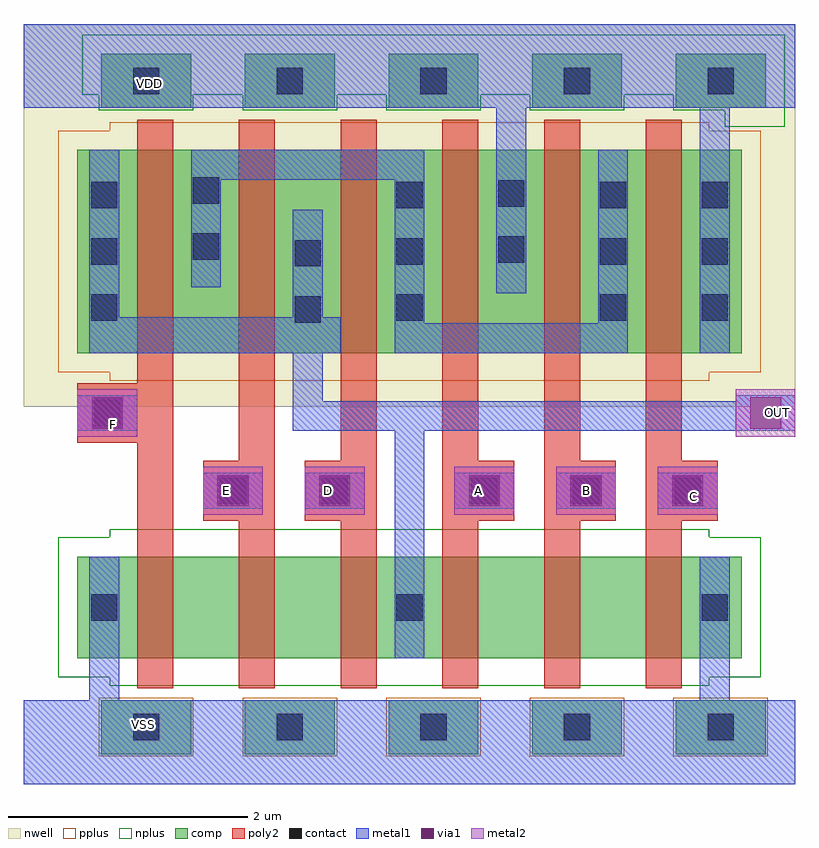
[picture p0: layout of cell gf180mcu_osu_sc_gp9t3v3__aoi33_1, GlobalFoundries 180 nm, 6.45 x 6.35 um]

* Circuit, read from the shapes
.subckt gf180mcu_osu_sc_gp9t3v3__aoi33_1 A B C D E F OUT VDD VSS
XM1 n1 F VSS VSS nfet_03v3 w=0.85u l=0.3u
XM2 n2 E n1 VSS nfet_03v3 w=0.85u l=0.3u
XM3 OUT D n2 VSS nfet_03v3 w=0.85u l=0.3u
XM4 n3 A OUT VSS nfet_03v3 w=0.85u l=0.3u
XM5 n4 B n3 VSS nfet_03v3 w=0.85u l=0.3u
XM6 VSS C n4 VSS nfet_03v3 w=0.85u l=0.3u
XM7 n5 F OUT VDD pfet_03v3 w=1.7u l=0.3u
XM8 OUT E n5 VDD pfet_03v3 w=1.7u l=0.3u
XM9 n5 D OUT VDD pfet_03v3 w=1.7u l=0.3u
XM10 VDD A n5 VDD pfet_03v3 w=1.7u l=0.3u
XM11 n5 B VDD VDD pfet_03v3 w=1.7u l=0.3u
XM12 VDD C n5 VDD pfet_03v3 w=1.7u l=0.3u
.ends

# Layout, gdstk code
import gdstk
lib = gdstk.Library(unit=1e-6, precision=1e-09)
def R(c, l, rs):  # rectangles x0, y0, x1, y1
    for r in rs: c.add(gdstk.rectangle(r[:2], r[2:], *l))
def A(c, l, x, y, w, h, nx, ny, dx, dy):  # array of equal rectangles
    R(c, l, [(x+i*dx, y+j*dy, x+i*dx+w, y+j*dy+h) for i in range(nx) for j in range(ny)])
nwell = (21, 0)
comp = (22, 0)
poly2 = (30, 0)
pplus = (31, 0)
nplus = (32, 0)
contact = (33, 0)
metal1 = (34, 0)
via1 = (35, 0)
metal2 = (36, 0)

gf180mcu_osu_sc_gp9t3v3_ = lib.new_cell('gf180mcu_osu_sc_gp9t3v3__aoi33_1')
R(gf180mcu_osu_sc_gp9t3v3_, nwell, [(0,3.15,6.45,6.35)])
A(gf180mcu_osu_sc_gp9t3v3_, comp, 0.65, 0.25, 0.75, 0.45, 5, 2, 1.2, 5.4)
R(gf180mcu_osu_sc_gp9t3v3_, comp, [(0.45,1.05,6,1.9), (0.45,3.6,6,5.3)])
A(gf180mcu_osu_sc_gp9t3v3_, poly2, 1.8, 0.8, 0.3, 1.4, 5, 1, 0.85, 0)
A(gf180mcu_osu_sc_gp9t3v3_, poly2, 3.5, 2.2, 0.6, 0.5, 3, 1, 0.85, 0)
A(gf180mcu_osu_sc_gp9t3v3_, poly2, 1.8, 2.7, 0.3, 2.85, 5, 1, 0.85, 0)
R(gf180mcu_osu_sc_gp9t3v3_, poly2, [(0.95,0.8,1.25,2.85), (1.5,2.2,2.1,2.7), (2.35,2.2,2.95,2.7), (0.45,2.85,1.25,3.35), (0.95,3.35,1.25,5.55)])
A(gf180mcu_osu_sc_gp9t3v3_, pplus, 0.63, 0.23, 0.79, 0.49, 5, 1, 1.2, 0)
R(gf180mcu_osu_sc_gp9t3v3_, pplus, [(0.72,3.37,5.73,3.44), (0.29,3.44,6.16,5.46), (0.72,5.46,5.73,5.53)])
A(gf180mcu_osu_sc_gp9t3v3_, nplus, 0.63, 5.63, 0.79, 0.13, 4, 1, 1.2, 0)
R(gf180mcu_osu_sc_gp9t3v3_, nplus, [(0.72,0.82,5.73,0.89), (0.29,0.89,6.16,2.06), (0.72,2.06,5.73,2.13), (5.86,5.49,6.36,5.63), (5.43,5.63,6.36,5.76), (0.49,5.76,6.36,6.26)])
A(gf180mcu_osu_sc_gp9t3v3_, contact, 0.915, 0.365, 0.22, 0.22, 5, 2, 1.2, 5.4)
A(gf180mcu_osu_sc_gp9t3v3_, contact, 0.565, 1.365, 0.22, 0.22, 3, 1, 2.55, 0)
A(gf180mcu_osu_sc_gp9t3v3_, contact, 3.74, 2.34, 0.22, 0.22, 3, 1, 0.85, 0)
A(gf180mcu_osu_sc_gp9t3v3_, contact, 0.565, 3.87, 0.22, 0.22, 1, 3, 0, 0.47)
A(gf180mcu_osu_sc_gp9t3v3_, contact, 3.115, 3.87, 0.22, 0.22, 1, 3, 0, 0.47)
A(gf180mcu_osu_sc_gp9t3v3_, contact, 4.815, 3.87, 0.22, 0.22, 1, 3, 0, 0.47)
A(gf180mcu_osu_sc_gp9t3v3_, contact, 5.665, 3.87, 0.22, 0.22, 1, 3, 0, 0.47)
R(gf180mcu_osu_sc_gp9t3v3_, contact, [(1.64,2.34,1.86,2.56), (2.49,2.34,2.71,2.56), (0.59,2.99,0.81,3.21), (2.265,3.855,2.485,4.075), (2.265,4.325,2.485,4.545), (3.965,4.355,4.185,4.575), (1.415,4.38,1.635,4.6), (3.965,4.825,4.185,5.045), (1.415,4.85,1.635,5.07)])
A(gf180mcu_osu_sc_gp9t3v3_, metal1, 3.6, 2.3, 0.5, 0.3, 3, 1, 0.85, 0)
R(gf180mcu_osu_sc_gp9t3v3_, metal1, [(0,0,6.45,0.7), (0.55,0.7,0.8,1.9), (5.65,0.7,5.9,1.9), (3.1,1.05,3.35,2.95), (1.5,2.3,2,2.6), (2.35,2.3,2.85,2.6), (0.45,2.95,0.95,3.25), (2.25,2.95,6.45,3.2), (2.25,3.2,2.5,3.6), (5.95,3.2,6.45,3.25), (0.55,3.6,2.65,3.9), (3.1,3.6,5.05,3.85), (5.65,3.6,5.9,5.65), (3.1,3.85,3.35,5.05), (4.8,3.85,5.05,5.3), (0.55,3.9,0.8,5.3), (2.25,3.9,2.5,4.8), (3.95,4.1,4.2,5.65), (1.4,4.15,1.65,5.05), (1.4,5.05,3.35,5.3), (0,5.65,6.45,6.35)])
A(gf180mcu_osu_sc_gp9t3v3_, via1, 3.72, 2.32, 0.26, 0.26, 3, 1, 0.85, 0)
R(gf180mcu_osu_sc_gp9t3v3_, via1, [(1.62,2.32,1.88,2.58), (2.47,2.32,2.73,2.58), (0.57,2.97,0.83,3.23), (6.07,2.97,6.33,3.23)])
A(gf180mcu_osu_sc_gp9t3v3_, metal2, 3.6, 2.25, 0.5, 0.4, 3, 1, 0.85, 0)
R(gf180mcu_osu_sc_gp9t3v3_, metal2, [(1.5,2.25,2,2.65), (2.35,2.25,2.85,2.65), (0.45,2.9,0.95,3.3), (5.95,2.9,6.45,3.3)])
gf180mcu_osu_sc_gp9t3v3_.add(gdstk.Label('F', (0.75,3), layer=34, texttype=10))
gf180mcu_osu_sc_gp9t3v3_.add(gdstk.Label('E', (1.7,2.45), layer=34, texttype=10))
gf180mcu_osu_sc_gp9t3v3_.add(gdstk.Label('D', (2.55,2.45), layer=34, texttype=10))
gf180mcu_osu_sc_gp9t3v3_.add(gdstk.Label('A', (3.8,2.45), layer=34, texttype=10))
gf180mcu_osu_sc_gp9t3v3_.add(gdstk.Label('B', (4.7,2.45), layer=34, texttype=10))
gf180mcu_osu_sc_gp9t3v3_.add(gdstk.Label('C', (5.6,2.4), layer=34, texttype=10))
gf180mcu_osu_sc_gp9t3v3_.add(gdstk.Label('OUT', (6.3,3.1), layer=34, texttype=10))
gf180mcu_osu_sc_gp9t3v3_.add(gdstk.Label('VSS', (1,0.5), layer=22, texttype=0))
gf180mcu_osu_sc_gp9t3v3_.add(gdstk.Label('VDD', (1.05,5.85), layer=34, texttype=10))

lib.write_gds('gf180mcu_osu_sc_gp9t3v3__aoi33_1.gds')
